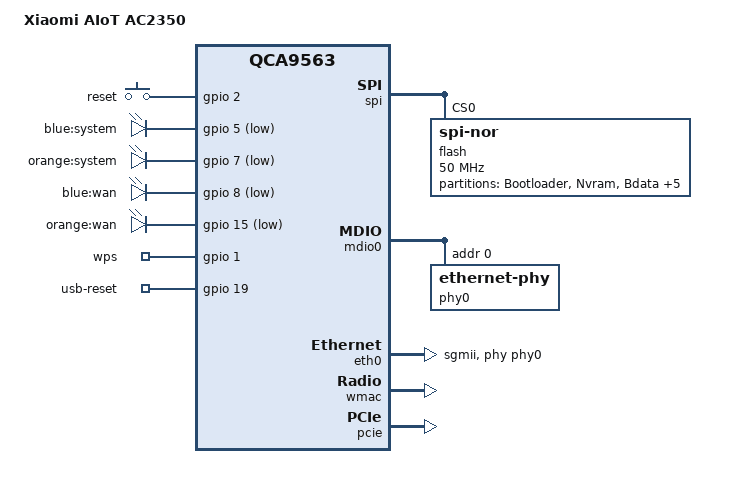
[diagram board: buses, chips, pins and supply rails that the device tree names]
// SPDX-License-Identifier: GPL-2.0-or-later OR MIT

#include "qca956x.dtsi"

#include <dt-bindings/gpio/gpio.h>
#include <dt-bindings/input/input.h>

/ {
	model = "Xiaomi AIoT AC2350";
	compatible = "xiaomi,aiot-ac2350", "qca,qca9563";

	aliases {
		label-mac-device = &eth0;

		led-boot = &led_system_orange;
		led-failsafe = &led_system_orange;
		led-running = &led_system_blue;
		led-upgrade = &led_system_orange;
	};

	keys {
		compatible = "gpio-keys";

		reset {
			label = "reset";
			linux,code = <KEY_RESTART>;
			gpios = <&gpio 2 GPIO_ACTIVE_HIGH>;
		};
	};

	leds {
		compatible = "gpio-leds";

		led_system_blue: system_blue {
			label = "blue:system";
			gpios = <&gpio 5 GPIO_ACTIVE_LOW>;
		};

		led_system_orange: system_orange {
			label = "orange:system";
			gpios = <&gpio 7 GPIO_ACTIVE_LOW>;
		};

		wan_blue {
			label = "blue:wan";
			gpios = <&gpio 8 GPIO_ACTIVE_LOW>;
		};

		wan_orange {
			label = "orange:wan";
			gpios = <&gpio 15 GPIO_ACTIVE_LOW>;
		};
	};

	gpio-export {
		compatible = "gpio-export";

		wps {
			gpio-export,name = "wps";
			gpio-export,output = <0>;
			gpios = <&gpio 1 GPIO_ACTIVE_HIGH>;
		};

		usb-reset {
			gpio-export,name = "usb-reset";
			gpio-export,output = <0>;
			gpios = <&gpio 19 GPIO_ACTIVE_HIGH>;
		};
	};
};

&spi {
	status = "okay";

	flash@0 {
		compatible = "jedec,spi-nor";
		reg = <0>;
		spi-max-frequency = <50000000>;

		partitions {
			compatible = "fixed-partitions";
			#address-cells = <1>;
			#size-cells = <1>;

			partition@0 {
				label = "Bootloader";
				reg = <0x0 0x30000>;
				read-only;
			};

			partition@30000 {
				label = "Nvram";
				reg = <0x30000 0x10000>;
			};

			partition@40000 {
				label = "Bdata";
				reg = <0x40000 0x10000>;
				read-only;
			};

			partition@50000 {
				label = "crash";
				reg = <0x50000 0x10000>;
				read-only;
			};

			art: partition@60000 {
				label = "art";
				reg = <0x60000 0x10000>;
				read-only;
			};

			partition@70000 {
				label = "cfg_bak";
				reg = <0x70000 0x20000>;
				read-only;
			};

			partition@90000 {
				label = "overlay";
				reg = <0x90000 0x170000>;
				read-only;
			};

			partition@200000 {
				compatible = "denx,uimage";
				label = "firmware";
				reg = <0x200000 0xe00000>;
			};
		};
	};
};

&mdio0 {
	status = "okay";

	phy-mask = <0x1>;

	phy0: ethernet-phy@0 {
		reg = <0>;
		phy-mode = "sgmii";

		qca,ar8327-initvals = <
			0x04 0x00000080 /* PORT0 PAD MODE CTRL */
			0x08 0x01000000 /* PORT5 PAD MODE CTRL */
			0x0c 0x00000000 /* PORT6 PAD MODE CTRL */
			0x10 0x602613a0 /* POWER_ON_STRAP */
			0x50 0xcf35cf35 /* LED_CTRL0 */
			0x54 0xca35ca35 /* LED_CTRL1 */
			0x58 0xc935c935 /* LED_CTRL2 */
			0x5c 0x03ffff00 /* LED_CTRL3 */
			0x7c 0x000000fe /* PORT0_STATUS */
			0x94 0x000010c2 /* PORT6_STATUS */
			0xe0 0xc74164de /* SGMII_CTRL */
		>;
	};
};

&eth0 {
	status = "okay";

	phy-mode = "sgmii";
	phy-handle = <&phy0>;

	mtd-mac-address = <&art 0x0>;
};

&wmac {
	status = "okay";

	mtd-cal-data = <&art 0x1000>;
};

&pcie {
	status = "okay";
};
